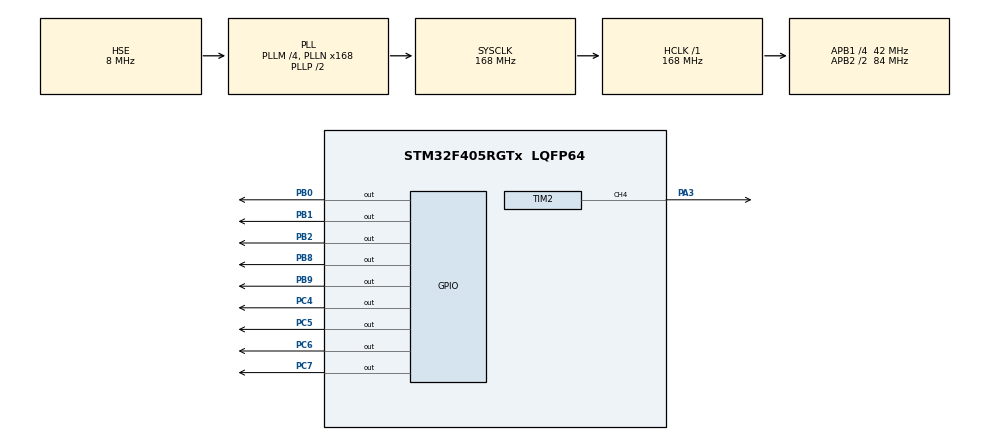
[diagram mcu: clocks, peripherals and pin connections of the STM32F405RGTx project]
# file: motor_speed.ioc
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Mcu.Family=STM32F4
Mcu.Name=STM32F405RGTx
Mcu.Package=LQFP64
NVIC.PriorityGroup=NVIC_PRIORITYGROUP_4
PA13.Mode=Serial_Wire
PA13.Signal=SYS_JTMS-SWDIO
PA14.Mode=Serial_Wire
PA14.Signal=SYS_JTCK-SWCLK
PA3.Signal=S_TIM2_CH4
PB0.Signal=GPIO_Output
PB1.Signal=GPIO_Output
PB2.Signal=GPIO_Output
PB8.Signal=GPIO_Output
PB9.Signal=GPIO_Output
PC4.Signal=GPIO_Output
PC5.Signal=GPIO_Output
PC6.Signal=GPIO_Output
PC7.Signal=GPIO_Output
PH0-OSC_IN.Mode=HSE-External-Oscillator
PH0-OSC_IN.Signal=RCC_OSC_IN
PH1-OSC_OUT.Mode=HSE-External-Oscillator
PH1-OSC_OUT.Signal=RCC_OSC_OUT
ProjectManager.HeapSize=0x200
ProjectManager.StackSize=0x400
ProjectManager.TargetToolchain=EWARM V8.32
RCC.48MHZClocksFreq_Value=84000000
RCC.AHBFreq_Value=168000000
RCC.APB1CLKDivider=RCC_HCLK_DIV4
RCC.APB1Freq_Value=42000000
RCC.APB1TimFreq_Value=84000000
RCC.APB2CLKDivider=RCC_HCLK_DIV2
RCC.APB2Freq_Value=84000000
RCC.APB2TimFreq_Value=168000000
RCC.CortexFreq_Value=168000000
RCC.HCLKFreq_Value=168000000
RCC.HSE_VALUE=8000000
RCC.HSI_VALUE=16000000
RCC.LSE_VALUE=32768
RCC.PLLM=4
RCC.PLLN=168
RCC.PLLSourceVirtual=RCC_PLLSOURCE_HSE
RCC.SYSCLKFreq_VALUE=168000000
RCC.SYSCLKSource=RCC_SYSCLKSOURCE_PLLCLK
RCC.VCOOutputFreq_Value=336000000
SH.S_TIM2_CH4.0=TIM2_CH4,PWM Generation4 CH4
TIM2.Channel-PWM\ Generation4\ CH4=TIM_CHANNEL_4
VP_TIM2_VS_ClockSourceINT.Mode=Internal
board=custom

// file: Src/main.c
/* USER CODE BEGIN Header */
/**
  ******************************************************************************
  * @file           : main.c
  * @brief          : Main program body
  ******************************************************************************
  * @attention
  *
  * <h2><center>&copy; Copyright (c) 2020 STMicroelectronics.
  * All rights reserved.</center></h2>
  *
  * This software component is licensed by ST under BSD 3-Clause license,
  * the "License"; You may not use this file except in compliance with the
  * License. You may obtain a copy of the License at:
  *                        opensource.org/licenses/BSD-3-Clause
  *
  ******************************************************************************
  */
/* USER CODE END Header */
// Prescaler = 42-1; Period = 100-1; Pulse = 70; 채널 4 70% 이상에서만 돌아감
#include "main.h"
#include "tim.h"
#include "gpio.h"

/* USER CODE BEGIN Includes */
#include "lcd.h"
/* USER CODE END Includes */

void SystemClock_Config(void);

int main(void)
{
  /* USER CODE BEGIN 1 */
  unsigned int pwmduty = 0, cnt_dir = 0;
  /* USER CODE END 1 */

  /* MCU Configuration--------------------------------------------------------*/

  /* Reset of all peripherals, Initializes the Flash interface and the Systick. */
  HAL_Init();

  /* Configure the system clock */
  SystemClock_Config();

  /* Initialize all configured peripherals */
  MX_GPIO_Init();
  MX_TIM2_Init();
  /* USER CODE BEGIN 2 */
  HAL_TIM_PWM_Start(&htim2, TIM_CHANNEL_4); // 스타트를 시켜줘야함

  HAL_GPIO_WritePin(GPIOB, GPIO_PIN_8, GPIO_PIN_SET);
  HAL_GPIO_WritePin(GPIOB, GPIO_PIN_9, GPIO_PIN_RESET);
  HAL_GPIO_WritePin(GPIOA, GPIO_PIN_3, GPIO_PIN_SET);

  lcdInit();
  lcdClear();
  lcdGotoXY(0, 0);
  lcdPrintData(" Duty : ", 7);
  /* USER CODE END 2 */

  /* Infinite loop */
  /* USER CODE BEGIN WHILE */
  while (1)
  {
    if(cnt_dir) {
      pwmduty--;

      if(pwmduty == 0) cnt_dir = 0;
    }
    else {
      pwmduty++;
      if(pwmduty == 99) cnt_dir = 1;
    }
    TIM2->CCR4 = pwmduty;
    lcdGotoXY(7, 0);
    lcdDataWrite((pwmduty/10)%10 + '0');
    lcdDataWrite((pwmduty)%10 + '0');
    lcdDataWrite('%');
    HAL_Delay(500);
    /* USER CODE END WHILE */

  }
}

void SystemClock_Config(void)
{
  RCC_OscInitTypeDef RCC_OscInitStruct = {0};
  RCC_ClkInitTypeDef RCC_ClkInitStruct = {0};

  /** Configure the main internal regulator output voltage
  */
  __HAL_RCC_PWR_CLK_ENABLE();
  __HAL_PWR_VOLTAGESCALING_CONFIG(PWR_REGULATOR_VOLTAGE_SCALE1);
  /** Initializes the CPU, AHB and APB busses clocks
  */
  RCC_OscInitStruct.OscillatorType = RCC_OSCILLATORTYPE_HSE;
  RCC_OscInitStruct.HSEState = RCC_HSE_ON;
  RCC_OscInitStruct.PLL.PLLState = RCC_PLL_ON;
  RCC_OscInitStruct.PLL.PLLSource = RCC_PLLSOURCE_HSE;
  RCC_OscInitStruct.PLL.PLLM = 4;
  RCC_OscInitStruct.PLL.PLLN = 168;
  RCC_OscInitStruct.PLL.PLLP = RCC_PLLP_DIV2;
  RCC_OscInitStruct.PLL.PLLQ = 4;
  if (HAL_RCC_OscConfig(&RCC_OscInitStruct) != HAL_OK)
  {
    Error_Handler();
  }
  /** Initializes the CPU, AHB and APB busses clocks
  */
  RCC_ClkInitStruct.ClockType = RCC_CLOCKTYPE_HCLK|RCC_CLOCKTYPE_SYSCLK
                              |RCC_CLOCKTYPE_PCLK1|RCC_CLOCKTYPE_PCLK2;
  RCC_ClkInitStruct.SYSCLKSource = RCC_SYSCLKSOURCE_PLLCLK;
  RCC_ClkInitStruct.AHBCLKDivider = RCC_SYSCLK_DIV1;
  RCC_ClkInitStruct.APB1CLKDivider = RCC_HCLK_DIV4;
  RCC_ClkInitStruct.APB2CLKDivider = RCC_HCLK_DIV2;

  if (HAL_RCC_ClockConfig(&RCC_ClkInitStruct, FLASH_LATENCY_5) != HAL_OK)
  {
    Error_Handler();
  }
}

void Error_Handler(void)
{
}

/************************ (C) COPYRIGHT STMicroelectronics *****END OF FILE****/
